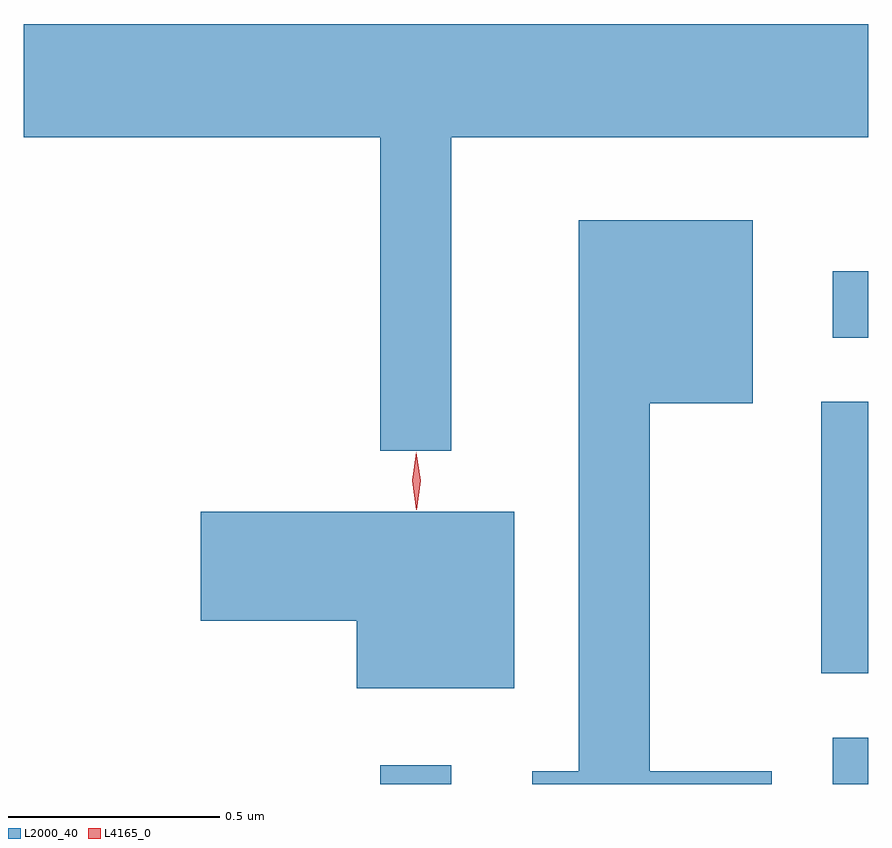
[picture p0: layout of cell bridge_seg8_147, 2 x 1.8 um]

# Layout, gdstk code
import gdstk
lib = gdstk.Library(unit=1e-6, precision=1e-09)
def R(c, l, rs):  # rectangles x0, y0, x1, y1
    for r in rs: c.add(gdstk.rectangle(r[:2], r[2:], *l))
def P(c, l, *ps):  # polygons
    for p in ps: c.add(gdstk.Polygon(p, *l))
L2000_40 = (2000, 40)
L4165_0 = (4165, 0)

bridge_seg8_147 = lib.new_cell('bridge_seg8_147')
R(bridge_seg8_147, L2000_40, [(1791.181,1819.344,1791.349,1819.388), (1792.253,1819.344,1792.337,1819.454), (1792.226,1819.606,1792.337,1820.249), (1792.253,1820.401,1792.337,1820.559)])
P(bridge_seg8_147, L2000_40, [(1791.349,1820.876),(1792.337,1820.876),(1792.337,1821.144),(1790.337,1821.144),(1790.337,1820.876),(1791.181,1820.876),(1791.181,1820.133),(1791.349,1820.133)],
  [(1792.109,1819.374),(1791.819,1819.374),(1791.819,1820.246),(1792.064,1820.246),(1792.064,1820.679),(1791.651,1820.679),(1791.651,1819.374),(1791.541,1819.374),(1791.541,1819.344),(1792.109,1819.344)],
  [(1791.499,1819.989),(1790.756,1819.989),(1790.756,1819.731),(1791.126,1819.731),(1791.126,1819.571),(1791.499,1819.571)])
P(bridge_seg8_147, L4165_0, [(1791.267,1820),(1791.267,1820),(1791.257,1820.063),(1791.266,1820.126),(1791.267,1820.127),(1791.267,1820.126),(1791.277,1820.063),(1791.268,1820)],
  [(1791.267,1819.994),(1791.267,1819.994),(1791.257,1820.062),(1791.266,1820.13),(1791.267,1820.13),(1791.267,1820.13),(1791.277,1820.062),(1791.268,1819.994)])

lib.write_gds('bridge_seg8_147.gds')
